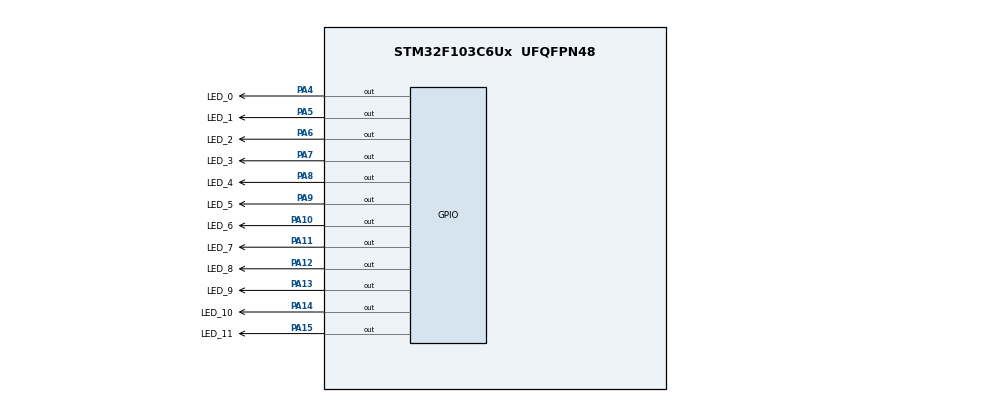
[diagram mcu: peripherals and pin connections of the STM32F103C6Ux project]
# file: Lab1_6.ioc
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Mcu.Family=STM32F1
Mcu.Name=STM32F103C6Ux
Mcu.Package=UFQFPN48
NVIC.PriorityGroup=NVIC_PRIORITYGROUP_4
PA10.GPIO_Label=LED_6
PA10.Signal=GPIO_Output
PA11.GPIO_Label=LED_7
PA11.Signal=GPIO_Output
PA12.GPIO_Label=LED_8
PA12.Signal=GPIO_Output
PA13.GPIO_Label=LED_9
PA13.Signal=GPIO_Output
PA14.GPIO_Label=LED_10
PA14.Signal=GPIO_Output
PA15.GPIO_Label=LED_11
PA15.Signal=GPIO_Output
PA4.GPIO_Label=LED_0
PA4.Signal=GPIO_Output
PA5.GPIO_Label=LED_1
PA5.Signal=GPIO_Output
PA6.GPIO_Label=LED_2
PA6.Signal=GPIO_Output
PA7.GPIO_Label=LED_3
PA7.Signal=GPIO_Output
PA8.GPIO_Label=LED_4
PA8.Signal=GPIO_Output
PA9.GPIO_Label=LED_5
PA9.Signal=GPIO_Output
ProjectManager.HeapSize=0x200
ProjectManager.StackSize=0x400
ProjectManager.TargetToolchain=STM32CubeIDE
RCC.APB1Freq_Value=8000000
RCC.APB2Freq_Value=8000000
VP_SYS_VS_ND.Mode=No_Debug
board=custom

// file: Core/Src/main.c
/* USER CODE BEGIN Header */
/**
  ******************************************************************************
  * @file           : main.c
  * @brief          : Main program body
  ******************************************************************************
  * @attention
  *
  * <h2><center>&copy; Copyright (c) 2023 STMicroelectronics.
  * All rights reserved.</center></h2>
  *
  * This software component is licensed by ST under BSD 3-Clause license,
  * the "License"; You may not use this file except in compliance with the
  * License. You may obtain a copy of the License at:
  *                        opensource.org/licenses/BSD-3-Clause
  *
  ******************************************************************************
  */
/* USER CODE END Header */
#include "main.h"

void SystemClock_Config(void);
static void MX_GPIO_Init(void);
/* USER CODE BEGIN PFP */
//initialize led array
GPIO_TypeDef* LED_GPIO_Port = GPIOA;
uint16_t LED_Pin[] = {
    GPIO_PIN_4, GPIO_PIN_5, GPIO_PIN_6, GPIO_PIN_7, GPIO_PIN_8, GPIO_PIN_9,
    GPIO_PIN_10, GPIO_PIN_11, GPIO_PIN_12, GPIO_PIN_13, GPIO_PIN_14, GPIO_PIN_15};
void clearAllClock () {
		// TODO
		for(int i = 0 ; i <= 11;i++){
			HAL_GPIO_WritePin(LED_GPIO_Port,LED_Pin[i],SET);
		}
	}
void setAllClock(){
	for(int i = 0 ; i <= 11;i++){
		HAL_GPIO_WritePin(LED_GPIO_Port,LED_Pin[i],RESET);
	}
}
void setNumberOnClock(int num){
	for(int i =0 ; i<=11;i++){
		if(num>=0 && num <=11){
			if(num == i){
				HAL_GPIO_WritePin(LED_GPIO_Port,LED_Pin[i],RESET);
				//break;
			}
//			else{
//				HAL_GPIO_WritePin(LED_GPIO_Port,LED_Pin[i],SET);
//			}
		}
	}
}
void clearNumberOnClock(int num){
	for(int i =0 ; i<=11;i++){
		if(num>=0 && num <=11){
			if(num == i){
				HAL_GPIO_WritePin(LED_GPIO_Port,LED_Pin[i],SET);
				//break;
			}
		}
//		else{
//			HAL_GPIO_WritePin(LED_GPIO_Port,LED_Pin[i],SET);
//		}
	}
}
/* USER CODE END PFP */

int main(void)
{

  /* MCU Configuration--------------------------------------------------------*/

  /* Reset of all peripherals, Initializes the Flash interface and the Systick. */
  HAL_Init();

  /* Configure the system clock */
  SystemClock_Config();

  /* Initialize all configured peripherals */
  MX_GPIO_Init();
  /* USER CODE BEGIN 2 */
  	  int hour = 0;
  	  int min = 0;
  	  int sec = 0;
  	  int flag = 1;
  /* USER CODE END 2 */

  /* Infinite loop */
  while (1)
  {

    /* USER CODE BEGIN 3 */

		//Implementation of analog clock
	  if(flag == 1){
	      clearAllClock();
	      flag = 0;
	  }
	  if(sec >= 12){
	      sec = 0;
	      min++;
	      if(min >= 12){
	          min = 0;
	          hour++;
	          if(hour >= 12){
	              hour = 0;
	              flag = 1;
	              clearAllClock();
	          }
	      }
	  }
	  setNumberOnClock(sec);
	  clearNumberOnClock((sec + 11) % 12);

	  setNumberOnClock(min);
	  clearNumberOnClock((min + 11) % 12);

	  setNumberOnClock(hour);
	  clearNumberOnClock((hour + 11) % 12);

	  sec++;
	  HAL_Delay(200);

  }
  /* USER CODE END 3 */
}

void SystemClock_Config(void)
{
  RCC_OscInitTypeDef RCC_OscInitStruct = {0};
  RCC_ClkInitTypeDef RCC_ClkInitStruct = {0};

  /** Initializes the RCC Oscillators according to the specified parameters
  * in the RCC_OscInitTypeDef structure.
  */
  RCC_OscInitStruct.OscillatorType = RCC_OSCILLATORTYPE_HSI;
  RCC_OscInitStruct.HSIState = RCC_HSI_ON;
  RCC_OscInitStruct.HSICalibrationValue = RCC_HSICALIBRATION_DEFAULT;
  RCC_OscInitStruct.PLL.PLLState = RCC_PLL_NONE;
  if (HAL_RCC_OscConfig(&RCC_OscInitStruct) != HAL_OK)
  {
    Error_Handler();
  }
  /** Initializes the CPU, AHB and APB buses clocks
  */
  RCC_ClkInitStruct.ClockType = RCC_CLOCKTYPE_HCLK|RCC_CLOCKTYPE_SYSCLK
                              |RCC_CLOCKTYPE_PCLK1|RCC_CLOCKTYPE_PCLK2;
  RCC_ClkInitStruct.SYSCLKSource = RCC_SYSCLKSOURCE_HSI;
  RCC_ClkInitStruct.AHBCLKDivider = RCC_SYSCLK_DIV1;
  RCC_ClkInitStruct.APB1CLKDivider = RCC_HCLK_DIV1;
  RCC_ClkInitStruct.APB2CLKDivider = RCC_HCLK_DIV1;

  if (HAL_RCC_ClockConfig(&RCC_ClkInitStruct, FLASH_LATENCY_0) != HAL_OK)
  {
    Error_Handler();
  }
}

static void MX_GPIO_Init(void)
{
  GPIO_InitTypeDef GPIO_InitStruct = {0};

  /* GPIO Ports Clock Enable */
  __HAL_RCC_GPIOA_CLK_ENABLE();

  /*Configure GPIO pin Output Level */
  HAL_GPIO_WritePin(GPIOA, LED_0_Pin|LED_1_Pin|LED_2_Pin|LED_3_Pin
                          |LED_4_Pin|LED_5_Pin|LED_6_Pin|LED_7_Pin
                          |LED_8_Pin|LED_9_Pin|LED_10_Pin|LED_11_Pin, GPIO_PIN_RESET);

  /*Configure GPIO pins : LED_0_Pin LED_1_Pin LED_2_Pin LED_3_Pin
                           LED_4_Pin LED_5_Pin LED_6_Pin LED_7_Pin
                           LED_8_Pin LED_9_Pin LED_10_Pin LED_11_Pin */
  GPIO_InitStruct.Pin = LED_0_Pin|LED_1_Pin|LED_2_Pin|LED_3_Pin
                          |LED_4_Pin|LED_5_Pin|LED_6_Pin|LED_7_Pin
                          |LED_8_Pin|LED_9_Pin|LED_10_Pin|LED_11_Pin;
  GPIO_InitStruct.Mode = GPIO_MODE_OUTPUT_PP;
  GPIO_InitStruct.Pull = GPIO_NOPULL;
  GPIO_InitStruct.Speed = GPIO_SPEED_FREQ_LOW;
  HAL_GPIO_Init(GPIOA, &GPIO_InitStruct);

}

void Error_Handler(void)
{
  __disable_irq();
  while (1)
  {
  }
}

/************************ (C) COPYRIGHT STMicroelectronics *****END OF FILE****/
